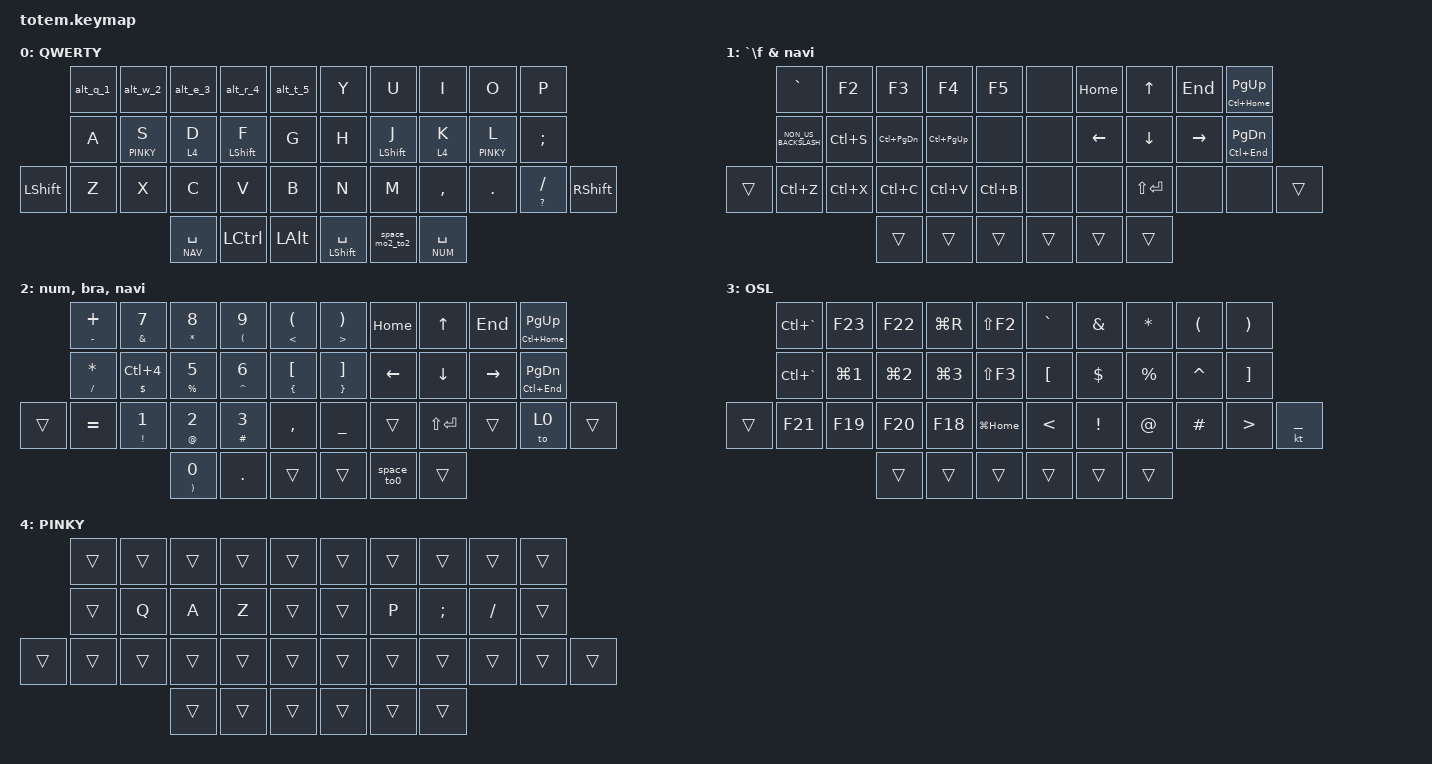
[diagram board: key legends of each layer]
#define QWERTY 0
#define NAV    1
#define NUM    2
#define OSL    3
#define PINKY  4

#include <behaviors.dtsi>
#include <dt-bindings/zmk/bt.h>
#include <dt-bindings/zmk/keys.h>
#include <dt-bindings/zmk/outputs.h>

/*
 * KEYBALL39 -> TOTEM layer port
 *
 * KEYBALL39 layers 0 / 1 / 2 / 3 / 7
 *       TOTEM layers 0 / 1 / 2 / 3 / 4
 *
 * TOTEM's two outer bottom-row keys are LSHIFT / RSHIFT.
 * The six thumb keys follow the supplied layout image:
 *
 *   left : LT(NAV, SPACE), LCTRL, LALT
 *   right: SPACE, CAPSLOCK, LT(NUM, SPACE)
 */

&lt {
    tapping-term-ms = <240>;
    flavor = "balanced";
    quick-tap-ms = <150>;
};

&mt {
    tapping-term-ms = <200>;
    flavor = "tap-preferred";
    quick-tap-ms = <150>;
};

&caps_word { continue-list = <UNDERSCORE MINUS>; };

/ {
    behaviors {
        cmqus: comma_question {
            compatible = "zmk,behavior-mod-morph";
            label = "COMMA_QUESTION";
            #binding-cells = <0>;
            bindings = <&kp COMMA>, <&kp QUESTION>;

            mods = <(MOD_LSFT | MOD_RSFT)>;
        };

        dtsmi: dot_semi {
            compatible = "zmk,behavior-mod-morph";
            label = "DOT_SEMI";
            #binding-cells = <0>;
            bindings = <&kp DOT>, <&kp SEMI>;

            mods = <(MOD_LSFT | MOD_RSFT)>;
        };

        hrm_L: homerow_left {
            compatible = "zmk,behavior-hold-tap";
            label = "Homerow_L";
            bindings = <&kp>, <&kp>;

            #binding-cells = <2>;
            tapping-term-ms = <280>;
            quick-tap-ms = <175>;
            flavor = "balanced";
            require-prior-idle-ms = <150>;
            hold-trigger-on-release;
            hold-trigger-key-positions = <
                5 6 7 8 9
                15 16 17 18 19
                26 27 28 29 30 31
                35 36 37
            >;
        };

        ht: hold_tap {
            compatible = "zmk,behavior-hold-tap";
            label = "Hold_Tap";
            bindings = <&kp>, <&kp>;

            #binding-cells = <2>;
            tapping-term-ms = <170>;
        };

        hrm_r: homerow_right {
            compatible = "zmk,behavior-hold-tap";
            label = "Homerow_R";
            bindings = <&kp>, <&kp>;

            #binding-cells = <2>;
            tapping-term-ms = <280>;
            quick-tap-ms = <175>;
            flavor = "balanced";
            require-prior-idle-ms = <150>;
            hold-trigger-on-release;
            hold-trigger-key-positions = <
                0 1 2 3 4
                10 11 12 13 14
                20 21 22 23 24 25
                32 33 34
            >;
        };

        alt_q_1: alt_q_1 {
            compatible = "zmk,behavior-mod-morph";
            label = "ALT_Q_1";
            bindings = <&kp Q>, <&kp NUMBER_1>;

            #binding-cells = <0>;
            mods = <MOD_LALT>;
            keep-mods = <MOD_LALT>;
        };

        alt_w_2: alt_w_2 {
            compatible = "zmk,behavior-mod-morph";
            label = "ALT_W_2";
            bindings = <&kp W>, <&kp NUMBER_2>;

            #binding-cells = <0>;
            mods = <MOD_LALT>;
            keep-mods = <MOD_LALT>;
        };

        alt_e_3: alt_e_3 {
            compatible = "zmk,behavior-mod-morph";
            label = "ALT_E_3";
            bindings = <&kp E>, <&kp NUMBER_3>;

            #binding-cells = <0>;
            mods = <MOD_LALT>;
            keep-mods = <MOD_LALT>;
        };

        alt_r_4: alt_r_4 {
            compatible = "zmk,behavior-mod-morph";
            label = "ALT_R_4";
            bindings = <&kp R>, <&kp NUMBER_4>;

            #binding-cells = <0>;
            mods = <MOD_LALT>;
            keep-mods = <MOD_LALT>;
        };

        alt_t_5: alt_t_5 {
            compatible = "zmk,behavior-mod-morph";
            label = "ALT_T_5";
            bindings = <&kp T>, <&kp NUMBER_5>;

            #binding-cells = <0>;
            mods = <MOD_LALT>;
            keep-mods = <MOD_LALT>;
        };

        as_tab: as_tab {
            compatible = "zmk,behavior-mod-morph";
            label = "AS_TAB";
            bindings = <&kp TAB>, <&kp LS(LA(TAB))>;

            #binding-cells = <0>;
            mods = <(MOD_LCTL | MOD_LALT)>;
        };

        space_mo2_to2: space_mo2_to2 {
            compatible = "zmk,behavior-tap-dance";
            label = "SPACE_MO2_TO2";
            #binding-cells = <0>;
            bindings = <&lt 2 SPACE>, <&to 2>;
        };

        space_to0: space_to0 {
            compatible = "zmk,behavior-tap-dance";
            label = "SPACE_TO0";
            #binding-cells = <0>;
            bindings = <&kp SPACE>, <&to 0>;
        };
    };

    macros {
        Hiragana: Hiragana {
            compatible = "zmk,behavior-macro";
            #binding-cells = <0>;
            bindings = <&kp LC(SPACE)>;
            label = "HIRAGANA";
        };

        bt_in_out: bluetooth {
            compatible = "zmk,behavior-macro";
            #binding-cells = <0>;
            bindings = <&bt BT_SEL 0 &out OUT_TOG>;
            label = "BLUETOOTH";
        };
    };

    combos {
        compatible = "zmk,combos";

        enter_r {
            bindings = <&kp ENTER>;
            key-positions = <16 17>;
            layers = <0>;
        };

        enter_l {
            bindings = <&kp ENTER>;
            key-positions = <12 13>;
            layers = <0>;
        };

        del_r {
            bindings = <&kp DELETE>;
            key-positions = <7 8>;
            layers = <0>;
        };

        del_l {
            bindings = <&kp DELETE>;
            key-positions = <23 24>;
            layers = <QWERTY>;
        };

        bsp_r {
            bindings = <&kp BACKSPACE>;
            key-positions = <6 7>;
            layers = <0>;
        };

        bsp_l {
            bindings = <&kp BACKSPACE>;
            key-positions = <22 23>;
            layers = <QWERTY>;
        };

        as_tab_combo {
            bindings = <&as_tab>;
            key-positions = <10 11>;
            layers = <QWERTY>;
        };

        caps_combo {
            bindings = <&kp CAPSLOCK>;
            key-positions = <21 22>;
            layers = <QWERTY>;
        };

        esc_combo {
            bindings = <&kp ESCAPE>;
            key-positions = <0 1>;
            layers = <QWERTY>;
        };

        ralt_combo {
            bindings = <&kp RIGHT_ALT>;
            key-positions = <16 18>;
            layers = <QWERTY>;
        };

        osl_combo {
            bindings = <&sl OSL>;
            key-positions = <11 12 13>;
            layers = <QWERTY>;
        };

        shift_home {
            bindings = <&kp LS(HOME)>;
            key-positions = <6 7>;
            layers = <2>;
        };

        shift_end {
            bindings = <&kp LS(END)>;
            key-positions = <7 8>;
            layers = <2>;
        };

        ctrl_left {
            bindings = <&kp LC(LEFT_ARROW)>;
            key-positions = <16 17>;
            layers = <2>;
        };

        ctrl_right {
            bindings = <&kp LC(RIGHT)>;
            key-positions = <17 18>;
            layers = <2>;
        };

        space_combo {
            bindings = <&kp SPACE>;
            key-positions = <24 25>;
            layers = <QWERTY>;
        };

        tab_combo {
            bindings = <&kp TAB>;
            key-positions = <11 12>;
            layers = <0 2>;
        };

        esc2_combo {
            bindings = <&kp ESCAPE>;
            key-positions = <1 2>;
            layers = <0 2>;
        };
    };

    keymap {
        compatible = "zmk,keymap";

        default_layer {
            label = "QWERTY";
            bindings = <
                &alt_q_1  &alt_w_2     &alt_e_3       &alt_r_4             &alt_t_5        &kp Y                 &kp U                &kp I          &kp O        &kp P
                &kp A     &lt PINKY S  &lt 4 D        &hrm_L LEFT_SHIFT F  &kp G           &kp H                 &hrm_r LEFT_SHIFT J  &lt 4 K        &lt PINKY L  &kp SEMICOLON
&kp LEFT_SHIFT  &kp Z     &kp X        &kp C          &kp V                &kp B           &kp N                 &kp M                &kp COMMA      &kp DOT      &ht QUESTION SLASH  &kp RIGHT_SHIFT
                                       &lt NAV SPACE  &kp LCTRL            &kp LEFT_ALT    &ht LEFT_SHIFT SPACE  &space_mo2_to2       &lt NUM SPACE
            >;
        };

        f_grave_layer {
            label = "`\f & navi";
            bindings = <
        &kp GRAVE             &kp F2     &kp F3             &kp F4           &kp F5       &none   &kp HOME        &kp UP_ARROW   &kp END    &ht LC(HOME) PG_UP
        &kp NON_US_BACKSLASH  &kp LC(S)  &kp LC(PAGE_DOWN)  &kp LC(PAGE_UP)  &none        &none   &kp LEFT_ARROW  &kp DOWN       &kp RIGHT  &ht LC(END) PAGE_DOWN
&trans  &kp LC(Z)             &kp LC(X)  &kp LC(C)          &kp LC(V)        &kp LC(B)    &none   &none           &kp LS(ENTER)  &none      &none                  &trans
                                         &trans             &trans           &trans       &trans  &trans          &trans
            >;
        };

        num_navi_layer {
            label = "num, bra, navi";
            bindings = <
        &ht MINUS PLUS      &ht AMPERSAND NUMBER_7    &ht ASTERISK NUMBER_8           &ht LEFT_PARENTHESIS NUMBER_9  &ht LESS_THAN LEFT_PARENTHESIS    &ht GREATER_THAN RIGHT_PARENTHESIS  &kp HOME    &kp UP         &kp END    &ht LC(HOME) PG_UP
        &ht SLASH ASTERISK  &ht DOLLAR LC(NUMBER_4)   &ht PERCENT NUMBER_5            &ht CARET NUMBER_6             &ht LEFT_BRACE LEFT_BRACKET       &ht RIGHT_BRACE RIGHT_BRACKET       &kp LEFT    &kp DOWN       &kp RIGHT  &ht LC(END) PAGE_DOWN
&trans  &kp EQUAL           &ht EXCLAMATION NUMBER_1  &ht AT_SIGN NUMBER_2            &ht HASH NUMBER_3              &kp COMMA                         &kp UNDERSCORE                      &trans      &kp LS(ENTER)  &trans     &to 0                  &trans
                                                      &ht RIGHT_PARENTHESIS NUMBER_0  &kp DOT                        &trans                            &trans                              &space_to0  &trans
            >;
        };

        osl_layer {
            label = "OSL";
            bindings = <
        &kp LC(GRAVE)  &kp F23           &kp F22           &kp LG(R)         &kp LS(F2)      &kp GRAVE         &kp AMPERSAND    &kp ASTERISK  &kp LEFT_PARENTHESIS  &kp RIGHT_PARENTHESIS
        &kp LC(GRAVE)  &kp LG(NUMBER_1)  &kp LG(NUMBER_2)  &kp LG(NUMBER_3)  &kp LS(F3)      &kp LEFT_BRACKET  &kp DOLLAR       &kp PERCENT   &kp CARET             &kp RIGHT_BRACKET
&trans  &kp F21        &kp F19           &kp F20           &kp F18           &kp LG(HOME)    &kp LESS_THAN     &kp EXCLAMATION  &kp AT_SIGN   &kp HASH              &kp GREATER_THAN       &kt UNDERSCORE
                                         &trans            &trans            &trans          &trans            &trans           &trans
            >;
        };

        pinky_layer {
            label = "PINKY";
            bindings = <
        &trans  &trans  &trans  &trans  &trans    &trans  &trans  &trans         &trans     &trans
        &trans  &kp Q   &kp A   &kp Z   &trans    &trans  &kp P   &kp SEMICOLON  &kp SLASH  &trans
&trans  &trans  &trans  &trans  &trans  &trans    &trans  &trans  &trans         &trans     &trans  &trans
                        &trans  &trans  &trans    &trans  &trans  &trans
            >;
        };
    };
};
